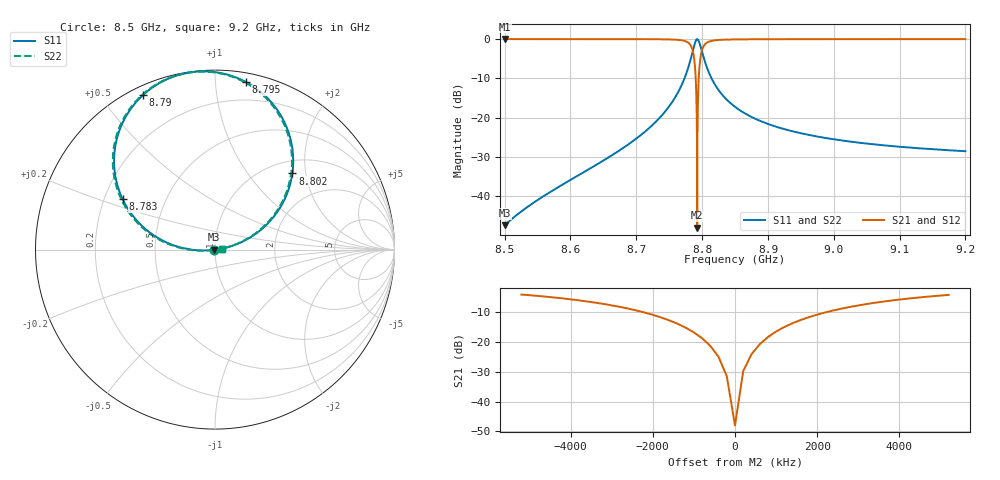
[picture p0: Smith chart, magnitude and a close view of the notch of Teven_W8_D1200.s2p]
! Sonnet Data File
! From: emgraph Version : 16.52
! From Project: transmon_brg
! Data is De-embedded
! Data File Written: 11/11/2017 22:44:25
!< HDATE 11/11/2017 16:55:33
!< MDATE 11/11/2017 17:38:18
!< PARAMS
!< Lj = 15.24
!< Gap = 6.0
!< Width = 10.0
!< Airgap = 6.0
!< Pwidth = 2000.0
!< Dist = 1200.0
!< END PARAMS
# GHZ S MA R 51.80000
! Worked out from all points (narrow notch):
!   3501 points, 8.5 GHz to 9.2 GHz, reference 51.8 ohm
!   highest |S21| = 0.00 dB at 8.5 GHz (marker M1); lowest = -48.0 dB at 8.793 GHz (marker M2)
!   notch at M2: 48.0 dB deep, 876 kHz wide at half that depth
!   lowest |S11| = -47.4 dB at 8.5 GHz (marker M3), VSWR 1.01, Z = 51.4 - j0.0601 ohm
!   |S11| at or under -10 dB: start of sweep to 8.773 GHz; 8.814 GHz to end of sweep
!   |S22| runs from -47.4 to 0.0 dB; largest |S21 - S12| = 0
!   S11 on the Smith chart (normalised r, x): 8.5 GHz: 0.99, -0.00; 8.783 GHz: 0.28, +0.24; 8.79 GHz: 0.04, +0.64; 8.795 GHz: 0.06, +1.20; 8.802 GHz: 1.26, +1.68; 9.2 GHz: 1.08, +0.01
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8.5  0.004256 -172.1  1 -79.8  1 -79.8  0.004256 -167.5
!< P1 F=8.5 Eeff=(6.44695349 -2.9785e-5) Z0=(51.7999087 1.19092e-4) R=0.0 C=0.0
!< P2 F=8.5 Eeff=(6.44695349 -2.9785e-5) Z0=(51.7999087 1.19092e-4) R=0.0 C=0.0
8.6168  0.01948 -172.6  0.9998 -81.8  0.9998 -81.8  0.01948 -170.9
8.6888  0.04622 -174.6  0.9989 -84.0  0.9989 -84.0  0.04622 -173.4
8.7334  0.0953 -177.7  0.9954 -87.2  0.9954 -87.2  0.0953 -176.7
8.7548  0.159 178.4  0.9872 -91.1  0.9872 -91.1  0.159 179.3
8.7708  0.2818 171.1  0.9592 -98.4  0.9592 -98.4  0.2818 171.9
8.7784  0.419 162.6  0.9074 -106.9  0.9074 -106.9  0.419 163.4
8.7834  0.5858 151.4  0.8092 -118.1  0.8092 -118.1  0.5858 152.2
8.7876  0.8024 133.8  0.5938 -135.6  0.5938 -135.6  0.8024 134.6
8.7904  0.9497 115.1  0.3052 -154.0  0.3052 -154.0  0.9497 115.9
8.7926  0.9973 97.1  0.003985 -34.9  0.003985 -34.9  0.9973 98.0
8.7948  0.9493 79.4  0.3067 -10.6  0.3067 -10.6  0.9493 80.2
8.7976  0.8083 61.4  0.5858 -28.4  0.5858 -28.4  0.8083 62.2
8.8018  0.6046 44.5  0.7953 -45.2  0.7953 -45.2  0.6046 45.3
8.8074  0.4329 32.9  0.9009 -56.8  0.9009 -56.8  0.4329 33.7
8.8154  0.3038 24.9  0.9525 -64.8  0.9525 -64.8  0.3038 25.6
8.8304  0.1964 18.4  0.9804 -71.3  0.9804 -71.3  0.1964 19.1
8.85  0.1375 14.7  0.9905 -74.9  0.9905 -74.9  0.1375 15.4
8.8976  0.08471 11.3  0.9964 -78.4  0.9964 -78.4  0.08471 11.9
8.9668  0.05925 9.2  0.9982 -80.5  0.9982 -80.5  0.05925 9.8
9.0834  0.04387 7.3  0.999 -82.5  0.999 -82.5  0.04387 7.7
9.2  0.03745 5.9  0.9993 -84.0  0.9993 -84.0  0.03745 6.2
